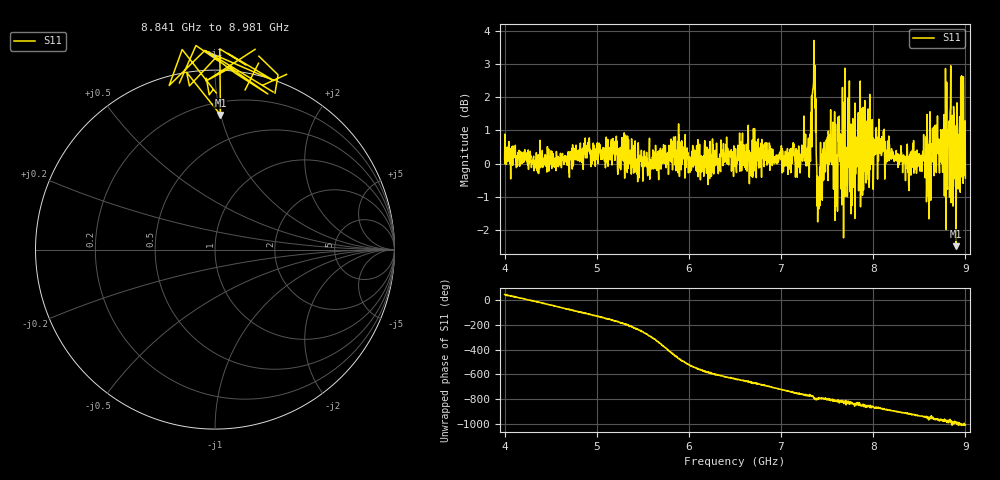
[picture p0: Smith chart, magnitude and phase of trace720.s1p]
! Created with skrf 1.8.0 (http://scikit-rf.org).
# Hz S RI R 50.0
!freq ReS11 ImS11
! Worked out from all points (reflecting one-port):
!   1601 points, 4 GHz to 9 GHz, reference 50 ohm
!   lowest |S11| = -2.5 dB at 8.9 GHz (marker M1), VSWR 7.04, Z = 14.5 + j49.9 ohm
!   phase of S11 starts at 46 deg and turns -1054 deg over the sweep
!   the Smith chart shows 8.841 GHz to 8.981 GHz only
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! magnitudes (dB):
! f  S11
! 4 GHz  0.1
! 4.625 GHz  0.2
! 4.897 GHz  0.3
! 5.25 GHz  -0.1
! 5.875 GHz  -0.1
! 6.5 GHz  0.0
! 7.125 GHz  0.5
! 7.294 GHz  0.5
! 7.353 GHz  2.4
! 7.369 GHz  2.9
! 7.397 GHz  -1.8
! 7.416 GHz  -1.2
! 7.538 GHz  1.6
! 7.591 GHz  1.2
! 7.669 GHz  0.5
! 7.75 GHz  -0.3
! 7.784 GHz  -0.7
! 7.828 GHz  0.2
! 7.891 GHz  1.0
! 8.375 GHz  -0.1
! 8.55 GHz  0.3
! 8.603 GHz  -0.9
! 8.688 GHz  0.6
! 8.834 GHz  1.5
! 8.875 GHz  1.5
! 8.9 GHz  -2.5
! 8.959 GHz  2.6
! 9 GHz  -0.4
